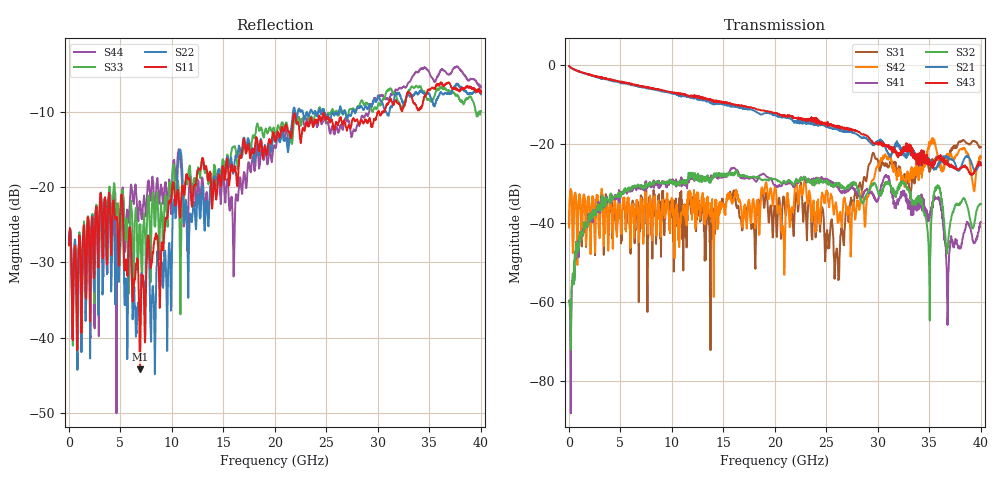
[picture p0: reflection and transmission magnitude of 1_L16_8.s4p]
! 7/15/2021 6:41:02 PM
! C:\USERS\VECTORSTARUSER\DESKTOP\SAMPLE\2021\PD7\18VPD7094DY\1-L16-8.S4P
! CHANNEL.1
! TR.MEASUREMENT
! CORRECTED.DATA
! RF.CORRECTION: FULL.FOUR.PORT.CAL.PORT.1.2.3.4
! AVERAGING.OFF
! IF.BANDWIDTH: 1KHZ
! SWEEPTYPE:  FREQ.SWEEP(Linear)
! Reference Plane Port Info
! PORT:  PORT1  PORT2  PORT3  PORT4
! DISTANCE:  0  m  0  m  0  m  0  m
! TIME:  0  s  0  s  0  s  0  s
! PHASE.OFFSET:  0 °  0 °  0 °  0 °
! LOSS:  0  dB  0  dB  0  dB  0  dB
! REF.LOSS:  0  dB  0  dB  0  dB  0  dB
! REF.FREQ:  0  Hz  0  Hz  0  Hz  0  Hz
! Power Info
! POWER:  -10  dBm  -10  dBm  -10  dBm  -10  dBm
! EFF.POWER:  -10  dBm  -10  dBm  -10  dBm  -10  dBm
# GHZ S RI R 50.0
! FREQ.GHZ  S11RE  S11IM  S12RE  S12IM  S13RE  S13IM  S14RE  S14IM
!  S21RE  S21IM  S22RE  S22IM  S23RE  S23IM  S24RE  S24IM
!  S31RE  S31IM  S32RE  S32IM  S33RE  S33IM  S34RE  S34IM
!  S41RE  S41IM  S42RE  S42IM  S43RE  S43IM  S44RE  S44IM
!; PortSelection: Port_1234
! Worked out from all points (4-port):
!   1000 points, 40 MHz to 40 GHz, reference 50 ohm
!   strongest paths, dB at 40 MHz, 10.04 GHz, 20.04 GHz, 30.04 GHz, 40 GHz:
!     S43: -0.4, -7.1, -12.2, -20.3, -25.5
!     S21: -0.4, -7.2, -12.9, -19.3, -25.2
!     S32: -60.0, -30.1, -28.9, -32.2, -35.3
!     S41: -60.0, -29.9, -30.4, -33.9, -39.9
!     S42: -41.1, -35.8, -30.8, -26.0, -23.5
!     S31: -41.2, -38.6, -35.9, -24.6, -20.8
!   lowest |S11| = -44.2 dB at 6.92 GHz (marker M1), VSWR 1.01, Z = 49.6 - j0.422 ohm
!   |S11| at or under -10 dB: start of sweep to 30.02 GHz; 30.11 GHz to 30.46 GHz (355.7 MHz wide, 1.17 % of centre); 30.54324 GHz to 30.5771 GHz (33.86 MHz wide, 0.111 % of centre)
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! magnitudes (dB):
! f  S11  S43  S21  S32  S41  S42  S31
! 40 MHz  -27.7  -0.4  -0.4  -60.0  -60.0  -41.1  -41.2
! 1.76 GHz  -27.7  -2.3  -2.4  -40.1  -40.5  -38.9  -39.6
! 6.92 GHz  -44.2  -5.4  -5.6  -30.9  -30.6  -36.6  -35.9
! 22.48 GHz  -13.7  -13.7  -14.4  -29.4  -28.7  -30.8  -30.9
! 26 GHz  -11.6  -15.9  -16.3  -30.7  -30.8  -36.2  -46.5
! 29.52 GHz  -11.5  -19.7  -20.2  -30.1  -32.7  -29.2  -22.3
! 40 GHz  -7.2  -25.5  -25.2  -35.3  -39.9  -23.5  -20.8
